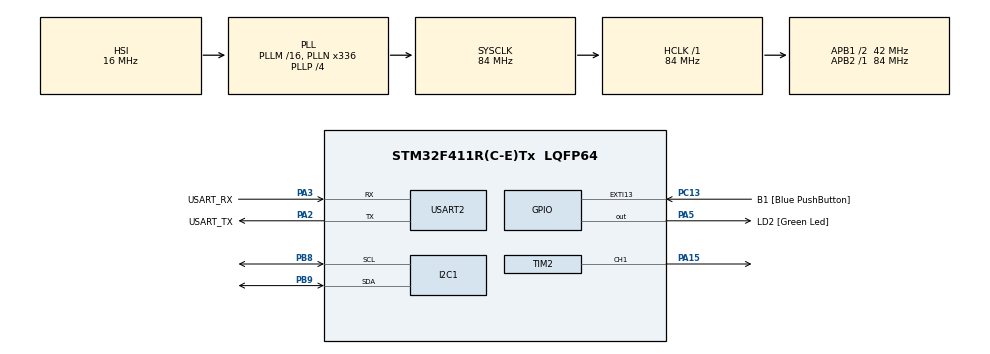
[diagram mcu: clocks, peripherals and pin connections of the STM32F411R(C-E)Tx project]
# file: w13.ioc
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I2C1.I2C_Mode=I2C_Fast
Mcu.Family=STM32F4
Mcu.Name=STM32F411R(C-E)Tx
Mcu.Package=LQFP64
NVIC.PriorityGroup=NVIC_PRIORITYGROUP_0
NVIC.TIM1_TRG_COM_TIM11_IRQn=true\:0\:0\:false\:false\:true\:true\:true\:true
PA13.GPIO_Label=TMS
PA13.Mode=Serial_Wire
PA13.Signal=SYS_JTMS-SWDIO
PA14.GPIO_Label=TCK
PA14.Mode=Serial_Wire
PA14.Signal=SYS_JTCK-SWCLK
PA15.Signal=S_TIM2_CH1_ETR
PA2.GPIO_Label=USART_TX
PA2.Mode=Asynchronous
PA2.Signal=USART2_TX
PA3.GPIO_Label=USART_RX
PA3.Mode=Asynchronous
PA3.Signal=USART2_RX
PA5.GPIO_Label=LD2 [Green Led]
PA5.Signal=GPIO_Output
PB3.GPIO_Label=SWO
PB3.Signal=SYS_JTDO-SWO
PB8.Mode=I2C
PB8.Signal=I2C1_SCL
PB9.Mode=I2C
PB9.Signal=I2C1_SDA
PC13-ANTI_TAMP.GPIO_Label=B1 [Blue PushButton]
PC13-ANTI_TAMP.GPIO_ModeDefaultEXTI=GPIO_MODE_IT_FALLING
PC13-ANTI_TAMP.Signal=GPXTI13
PC14-OSC32_IN.Mode=LSE-External-Oscillator
PC14-OSC32_IN.Signal=RCC_OSC32_IN
PC15-OSC32_OUT.Mode=LSE-External-Oscillator
PC15-OSC32_OUT.Signal=RCC_OSC32_OUT
PH0\ -\ OSC_IN.Mode=HSE-External-Clock-Source
PH0\ -\ OSC_IN.Signal=RCC_OSC_IN
PH1\ -\ OSC_OUT.Mode=HSE-External-Clock-Source
PH1\ -\ OSC_OUT.Signal=RCC_OSC_OUT
ProjectManager.HeapSize=0x200
ProjectManager.StackSize=0x400
ProjectManager.TargetToolchain=STM32CubeIDE
RCC.48MHZClocksFreq_Value=84000000
RCC.AHBFreq_Value=84000000
RCC.APB1CLKDivider=RCC_HCLK_DIV2
RCC.APB1Freq_Value=42000000
RCC.APB1TimFreq_Value=84000000
RCC.APB2Freq_Value=84000000
RCC.APB2TimFreq_Value=84000000
RCC.CortexFreq_Value=84000000
RCC.FLatency-AdvancedSettings=FLASH_LATENCY_2
RCC.HCLKFreq_Value=84000000
RCC.HSE_VALUE=8000000
RCC.HSI_VALUE=16000000
RCC.PLLN=336
RCC.PLLP=RCC_PLLP_DIV4
RCC.SYSCLKFreq_VALUE=84000000
RCC.SYSCLKSource=RCC_SYSCLKSOURCE_PLLCLK
RCC.VCOOutputFreq_Value=336000000
SH.S_TIM2_CH1_ETR.0=TIM2_CH1,PWM Generation1 CH1
TIM11.Period=1000-1
TIM11.Prescaler=8400-1
TIM2.Channel-PWM\ Generation1\ CH1=TIM_CHANNEL_1
TIM2.Period=1000-1
TIM2.Prescaler=8400-1
TIM2.Pulse-PWM\ Generation1\ CH1=500-1
USART2.VirtualMode=VM_ASYNC
VP_TIM11_VS_ClockSourceINT.Mode=Enable_Timer
VP_TIM2_VS_ClockSourceINT.Mode=Internal
board=NUCLEO-F411RE

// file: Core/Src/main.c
/* USER CODE BEGIN Header */
/**
  ******************************************************************************
  * @file           : main.c
  * @brief          : Main program body
  ******************************************************************************
  * @attention
  *
  * Copyright (c) 2024 STMicroelectronics.
  * All rights reserved.
  *
  * This software is licensed under terms that can be found in the LICENSE file
  * in the root directory of this software component.
  * If no LICENSE file comes with this software, it is provided AS-IS.
  *
  ******************************************************************************
  */
/* USER CODE END Header */
#include "main.h"

/* USER CODE BEGIN Includes */
#include <stdio.h>

/* USER CODE END Includes */

/* USER CODE BEGIN PTD */

typedef union {
	uint8_t Bytes[2];
	int16_t Word;
}_TwoBytesS;

/* USER CODE END PTD */

/* USER CODE BEGIN PD */

#define LM75_ADDR 0x48<<1
#define LM75_TEMP 0x00 	// Temperature Register of LM75
#define LM75_CONF 0x01 	// Configuration Register of LM75
#define LM75_HYST 0x02 	//
#define LM75_TOS 0x03 	// Over-temp Shutdown threshold Register of LM75
#define LM75_DevID 0x07 // Product ID Register
#define LM75_TEMP_CORR (float)(0.5) //LM75

/* USER CODE END PD */

I2C_HandleTypeDef hi2c1;

TIM_HandleTypeDef htim2;
TIM_HandleTypeDef htim11;

UART_HandleTypeDef huart2;

/* USER CODE BEGIN PV */

int i, ret, semaphore;
	float _temp;
	int timCount;

/* USER CODE END PV */

void SystemClock_Config(void);
static void MX_GPIO_Init(void);
static void MX_USART2_UART_Init(void);
static void MX_I2C1_Init(void);
static void MX_TIM2_Init(void);
static void MX_TIM11_Init(void);
/* USER CODE BEGIN PFP */

float GetTempLM75(I2C_HandleTypeDef *_hi2c);
void adjust_PWM_dutyCycle(TIM_HandleTypeDef* _htim, uint32_t pwmChannel, float dutyCycle);

/* USER CODE END PFP */

/* USER CODE BEGIN 0 */

#ifdef __GNUC__
/* With GCC, small printf (option LD Linker->Libraries->Small printf
   set to 'Yes') calls __io_putchar() */
#define PUTCHAR_PROTOTYPE int __io_putchar(int ch)
#else
#define PUTCHAR_PROTOTYPE int fputc(int ch, FILE *f)
#endif /* __GNUC__ */

/**
  * @brief  Retargets the C library printf function to the USART.
  * @param  None
  * @retval None
  */

PUTCHAR_PROTOTYPE
{
  /* Place your implementation of fputc here */
  /* e.g. write a character to the USART1 and Loop until the end of transmission */
  if (ch == '\n')
    HAL_UART_Transmit (&huart2, (uint8_t*) "\r", 1, 0xFFFF);
  HAL_UART_Transmit (&huart2, (uint8_t*) &ch, 1, 0xFFFF);

  return ch;

}

/* USER CODE END 0 */

int main(void)
{
  /* USER CODE BEGIN 1 */

	float prevTemp,currTemp;

  /* USER CODE END 1 */

  /* MCU Configuration--------------------------------------------------------*/

  /* Reset of all peripherals, Initializes the Flash interface and the Systick. */
  HAL_Init();

  /* Configure the system clock */
  SystemClock_Config();

  /* Initialize all configured peripherals */
  MX_GPIO_Init();
  MX_USART2_UART_Init();
  MX_I2C1_Init();
  MX_TIM2_Init();
  MX_TIM11_Init();

  /* Infinite loop */
  /* USER CODE BEGIN WHILE */

prevTemp = currTemp = timCount;
timCount=0;

//prevTemp = GetTempLM75(&hi2c1);
//  printf("Temperature(LM75): %5.1f \n", prevTemp);

HAL_TIM_PWM_Start(&htim2, TIM_CHANNEL_1);
  HAL_TIM_Base_Start_IT(&htim11);

  adjust_PWM_dutyCycle(&htim2, TIM_CHANNEL_1, 50.0);

  semaphore=1;

  while (1)
  {
	//  currTemp = (float)timCount;
	  currTemp = timCount;

	  	if(currTemp != prevTemp){
//	  		prevTemp=currTemp;
	//  		printf("Temperature(LM75): %5.1f [%d] \n", GetTempLM75(&hi2c1), timCount);
	  		_temp = GetTempLM75(&hi2c1);
	  		printf("%5.1f\n", _temp);

	  	if( semaphore == 0 && _temp > 36.0 ){
			adjust_PWM_dutyCycle(&htim2, TIM_CHANNEL_1, 50.0);
			semaphore=1;
		}
		if( semaphore == 1 && _temp < 36.0){
			adjust_PWM_dutyCycle(&htim2, TIM_CHANNEL_1, 60.0);
			semaphore=0;
		}

	  	}

	  	HAL_Delay(100);
    /* USER CODE END WHILE */

  }
}

void SystemClock_Config(void)
{
  RCC_OscInitTypeDef RCC_OscInitStruct = {0};
  RCC_ClkInitTypeDef RCC_ClkInitStruct = {0};

  /** Configure the main internal regulator output voltage
  */
  __HAL_RCC_PWR_CLK_ENABLE();
  __HAL_PWR_VOLTAGESCALING_CONFIG(PWR_REGULATOR_VOLTAGE_SCALE1);

  /** Initializes the RCC Oscillators according to the specified parameters
  * in the RCC_OscInitTypeDef structure.
  */
  RCC_OscInitStruct.OscillatorType = RCC_OSCILLATORTYPE_HSI;
  RCC_OscInitStruct.HSIState = RCC_HSI_ON;
  RCC_OscInitStruct.HSICalibrationValue = RCC_HSICALIBRATION_DEFAULT;
  RCC_OscInitStruct.PLL.PLLState = RCC_PLL_ON;
  RCC_OscInitStruct.PLL.PLLSource = RCC_PLLSOURCE_HSI;
  RCC_OscInitStruct.PLL.PLLM = 16;
  RCC_OscInitStruct.PLL.PLLN = 336;
  RCC_OscInitStruct.PLL.PLLP = RCC_PLLP_DIV4;
  RCC_OscInitStruct.PLL.PLLQ = 4;
  if (HAL_RCC_OscConfig(&RCC_OscInitStruct) != HAL_OK)
  {
    Error_Handler();
  }

  /** Initializes the CPU, AHB and APB buses clocks
  */
  RCC_ClkInitStruct.ClockType = RCC_CLOCKTYPE_HCLK|RCC_CLOCKTYPE_SYSCLK
                              |RCC_CLOCKTYPE_PCLK1|RCC_CLOCKTYPE_PCLK2;
  RCC_ClkInitStruct.SYSCLKSource = RCC_SYSCLKSOURCE_PLLCLK;
  RCC_ClkInitStruct.AHBCLKDivider = RCC_SYSCLK_DIV1;
  RCC_ClkInitStruct.APB1CLKDivider = RCC_HCLK_DIV2;
  RCC_ClkInitStruct.APB2CLKDivider = RCC_HCLK_DIV1;

  if (HAL_RCC_ClockConfig(&RCC_ClkInitStruct, FLASH_LATENCY_2) != HAL_OK)
  {
    Error_Handler();
  }
}

static void MX_I2C1_Init(void)
{

  hi2c1.Instance = I2C1;
  hi2c1.Init.ClockSpeed = 400000;
  hi2c1.Init.DutyCycle = I2C_DUTYCYCLE_2;
  hi2c1.Init.OwnAddress1 = 0;
  hi2c1.Init.AddressingMode = I2C_ADDRESSINGMODE_7BIT;
  hi2c1.Init.DualAddressMode = I2C_DUALADDRESS_DISABLE;
  hi2c1.Init.OwnAddress2 = 0;
  hi2c1.Init.GeneralCallMode = I2C_GENERALCALL_DISABLE;
  hi2c1.Init.NoStretchMode = I2C_NOSTRETCH_DISABLE;
  if (HAL_I2C_Init(&hi2c1) != HAL_OK)
  {
    Error_Handler();
  }

}

static void MX_TIM2_Init(void)
{

  TIM_ClockConfigTypeDef sClockSourceConfig = {0};
  TIM_MasterConfigTypeDef sMasterConfig = {0};
  TIM_OC_InitTypeDef sConfigOC = {0};

  htim2.Instance = TIM2;
  htim2.Init.Prescaler = 8400-1;
  htim2.Init.CounterMode = TIM_COUNTERMODE_UP;
  htim2.Init.Period = 1000-1;
  htim2.Init.ClockDivision = TIM_CLOCKDIVISION_DIV1;
  htim2.Init.AutoReloadPreload = TIM_AUTORELOAD_PRELOAD_DISABLE;
  if (HAL_TIM_Base_Init(&htim2) != HAL_OK)
  {
    Error_Handler();
  }
  sClockSourceConfig.ClockSource = TIM_CLOCKSOURCE_INTERNAL;
  if (HAL_TIM_ConfigClockSource(&htim2, &sClockSourceConfig) != HAL_OK)
  {
    Error_Handler();
  }
  if (HAL_TIM_PWM_Init(&htim2) != HAL_OK)
  {
    Error_Handler();
  }
  sMasterConfig.MasterOutputTrigger = TIM_TRGO_RESET;
  sMasterConfig.MasterSlaveMode = TIM_MASTERSLAVEMODE_DISABLE;
  if (HAL_TIMEx_MasterConfigSynchronization(&htim2, &sMasterConfig) != HAL_OK)
  {
    Error_Handler();
  }
  sConfigOC.OCMode = TIM_OCMODE_PWM1;
  sConfigOC.Pulse = 500-1;
  sConfigOC.OCPolarity = TIM_OCPOLARITY_HIGH;
  sConfigOC.OCFastMode = TIM_OCFAST_DISABLE;
  if (HAL_TIM_PWM_ConfigChannel(&htim2, &sConfigOC, TIM_CHANNEL_1) != HAL_OK)
  {
    Error_Handler();
  }
  HAL_TIM_MspPostInit(&htim2);

}

static void MX_TIM11_Init(void)
{

  htim11.Instance = TIM11;
  htim11.Init.Prescaler = 8400-1;
  htim11.Init.CounterMode = TIM_COUNTERMODE_UP;
  htim11.Init.Period = 1000-1;
  htim11.Init.ClockDivision = TIM_CLOCKDIVISION_DIV1;
  htim11.Init.AutoReloadPreload = TIM_AUTORELOAD_PRELOAD_DISABLE;
  if (HAL_TIM_Base_Init(&htim11) != HAL_OK)
  {
    Error_Handler();
  }

}

static void MX_USART2_UART_Init(void)
{

  huart2.Instance = USART2;
  huart2.Init.BaudRate = 115200;
  huart2.Init.WordLength = UART_WORDLENGTH_8B;
  huart2.Init.StopBits = UART_STOPBITS_1;
  huart2.Init.Parity = UART_PARITY_NONE;
  huart2.Init.Mode = UART_MODE_TX_RX;
  huart2.Init.HwFlowCtl = UART_HWCONTROL_NONE;
  huart2.Init.OverSampling = UART_OVERSAMPLING_16;
  if (HAL_UART_Init(&huart2) != HAL_OK)
  {
    Error_Handler();
  }

}

static void MX_GPIO_Init(void)
{
  GPIO_InitTypeDef GPIO_InitStruct = {0};

  /* GPIO Ports Clock Enable */
  __HAL_RCC_GPIOC_CLK_ENABLE();
  __HAL_RCC_GPIOH_CLK_ENABLE();
  __HAL_RCC_GPIOA_CLK_ENABLE();
  __HAL_RCC_GPIOB_CLK_ENABLE();

  /*Configure GPIO pin Output Level */
  HAL_GPIO_WritePin(LD2_GPIO_Port, LD2_Pin, GPIO_PIN_RESET);

  /*Configure GPIO pin : B1_Pin */
  GPIO_InitStruct.Pin = B1_Pin;
  GPIO_InitStruct.Mode = GPIO_MODE_IT_FALLING;
  GPIO_InitStruct.Pull = GPIO_NOPULL;
  HAL_GPIO_Init(B1_GPIO_Port, &GPIO_InitStruct);

  /*Configure GPIO pin : LD2_Pin */
  GPIO_InitStruct.Pin = LD2_Pin;
  GPIO_InitStruct.Mode = GPIO_MODE_OUTPUT_PP;
  GPIO_InitStruct.Pull = GPIO_NOPULL;
  GPIO_InitStruct.Speed = GPIO_SPEED_FREQ_LOW;
  HAL_GPIO_Init(LD2_GPIO_Port, &GPIO_InitStruct);

}

/* USER CODE BEGIN 4 */

void HAL_TIM_PeriodElapsedCallback(TIM_HandleTypeDef *htim)
{

	    timCount++;

}

float GetTempLM75(I2C_HandleTypeDef *_hi2c){
_TwoBytesS Result;
int16_t Result2;
float RetRes;
uint8_t LM75Data[2];
	HAL_I2C_Mem_Read(_hi2c, (uint16_t)LM75_ADDR, (uint16_t)LM75_TEMP,I2C_MEMADD_SIZE_8BIT, LM75Data, 2, 10);
	Result.Bytes[1] = LM75Data[0];
	Result.Bytes[0] = LM75Data[1];
	Result.Word /= 128;
	Result2 = (((int16_t)LM75Data[0] << 8)& 0xFF00) + ((int16_t)LM75Data[1] & 0x00FF) ;
	Result2 /= 128; // (Result2 >> 7) & 0x80EF;
	RetRes = (float)(Result2 * LM75_TEMP_CORR);

	// RetRes = (float)(Result.Word)* LM75_TEMP_CORR;

	return RetRes;

}

void adjust_PWM_dutyCycle(TIM_HandleTypeDef* _htim, uint32_t pwmChannel, float dutyCycle)
{
    assert(_htim != NULL);
    assert((dutyCycle >= 0.0f) && (dutyCycle <= 100.0f));

    /* The duty cycle value is a percentage of the reload register value (ARR). Rounding is used.*/
    uint32_t newRegVal = (uint32_t)roundf((float)(_htim->Instance->ARR) * (dutyCycle * 0.01f));

    /*In case of the duty cycle being calculated as higher than the reload register, cap it to the reload register*/
    if(newRegVal > _htim->Instance->ARR)
    {
        newRegVal = _htim->Instance->ARR;
    }

    /*  Assign the new duty cycle count to the capture compare register(CCRx).  */
    __HAL_TIM_SET_COMPARE(_htim, pwmChannel, (uint32_t)(roundf(newRegVal)));

}

/* USER CODE END 4 */

void Error_Handler(void)
{
  __disable_irq();
  while (1)
  {
  }
}
